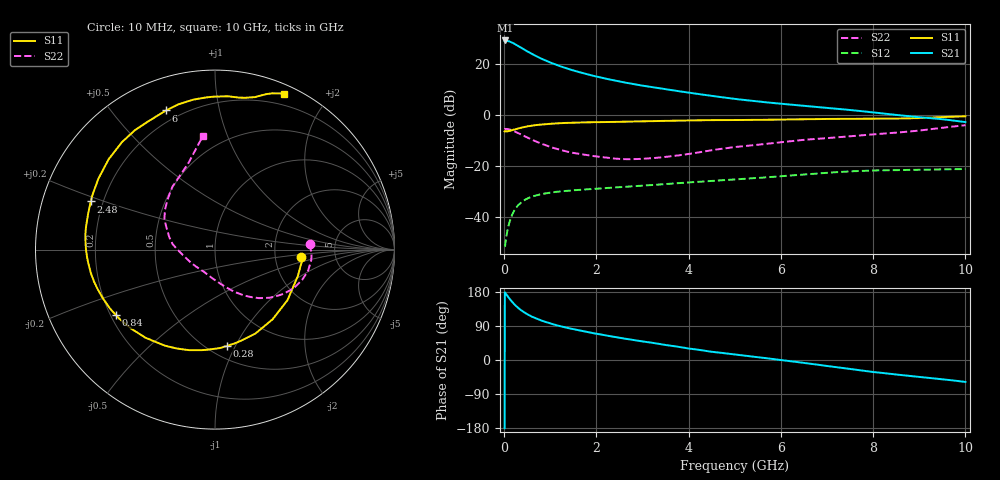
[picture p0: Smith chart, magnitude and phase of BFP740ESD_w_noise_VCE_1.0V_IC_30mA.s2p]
! Infineon Technologies  Discrete & RF Semiconductors
! BFP740ESD
! VCE =  1.0 V,  IC =  30 mA
! Common Emitter S-Parameters:  Jan 2016
# GHz  S  MA  R  50
!  f  S11  S21  S12  S22
! GHz  MAG  ANG  MAG  ANG  MAG  ANG  MAG  ANG
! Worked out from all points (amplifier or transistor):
!   233 points, 10 MHz to 10 GHz, reference 50 ohm
!   highest |S21| = 29.3 dB at 20 MHz (marker M1)
!   |S21| within 3 dB of that: start of sweep to 382.1 MHz
!   unconditionally stable (mu >= 1): start of sweep to 172.7 MHz; 1.715 GHz to 9.657 GHz
!   at 200 MHz: K = 0.90, MSG = 33.2 dB, |S12| = -38.1 dB
!   at 1.74 GHz: K = 1.01, MAG = 22.2 dB, |S12| = -29.1 dB
!   at 10 GHz: K = 0.83, MSG = 9.2 dB, |S12| = -21.1 dB
!   lowest NFmin = 0.96 dB at 450 MHz
!   S11 on the Smith chart (normalised r, x): 10 MHz: 2.81, -0.31; 280 MHz: 0.61, -0.93; 840 MHz: 0.22, -0.29; 2.48 GHz: 0.15, +0.18; 6 GHz: 0.15, +0.70; 10 GHz: 0.08, +1.54
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0.01  0.4805 -5.0  28.39 -179.9  0.0027 14.7  0.5273 3.1
0.02  0.4889 -7.3  29.25 177.2  0.0027 32.2  0.5385 -2.0
0.05  0.4844 -17.7  28.82 173.0  0.0043 48.2  0.5395 -6.3
0.1  0.4924 -34.9  28.38 164.3  0.0071 58.4  0.5317 -12.8
0.15  0.5038 -50.4  27.24 156.6  0.0099 59.1  0.5145 -19.0
0.2  0.5191 -64.3  25.87 149.6  0.0125 58.0  0.4942 -24.4
0.28  0.5404 -82.8  23.51 140.1  0.0162 53.9  0.4575 -32.0
0.36  0.5657 -97.8  21.3 132.0  0.0191 50.1  0.4215 -38.6
0.5  0.6037 -117.6  17.92 120.8  0.0231 44.3  0.3651 -47.8
0.6  0.6253 -128.2  15.94 114.4  0.0253 41.0  0.3309 -53.0
0.7  0.6428 -137.0  14.32 109.1  0.0269 38.3  0.3023 -57.7
0.84  0.6616 -146.7  12.45 102.8  0.0287 35.1  0.2693 -63.2
1  0.6801 -156.0  10.79 96.3  0.0303 32.5  0.2383 -69.2
1.2  0.6974 -165.2  9.235 89.7  0.0319 30.2  0.2106 -75.8
1.68  0.7206 178.4  6.797 76.7  0.0347 27.3  0.1708 -89.6
2.48  0.7421 158.8  4.627 59.1  0.0386 25.7  0.1392 -114.6
3.4  0.7724 141.5  3.335 41.7  0.044 25.3  0.1489 -147.8
5.1  0.805 117.8  2.038 13.0  0.0557 21.6  0.2423 171.1
6  0.8217 109.4  1.679 -0.1  0.0635 19.0  0.2949 156.2
6.8  0.8392 100.6  1.445 -12.4  0.072 13.8  0.3442 144.5
8.4  0.8575 80.9  1.036 -37.0  0.0834 -1.0  0.4477 117.3
10  0.9519 66.0  0.733 -57.9  0.088 -13.0  0.6375 96.0
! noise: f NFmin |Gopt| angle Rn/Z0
0.45  0.96  0.14  -174  0.18
0.9  1.01  0.16  -162  0.09
1.9  1.03  0.19  -150  0.11
2.4  1.09  0.22  -136  0.12
5.5  1.24  0.37  -113  0.14
10  1.81  0.58  -83  0.65
